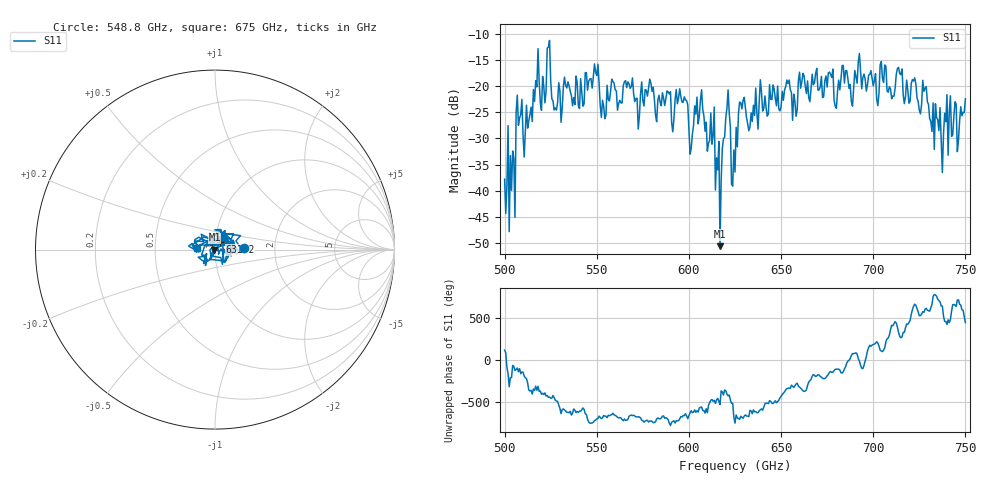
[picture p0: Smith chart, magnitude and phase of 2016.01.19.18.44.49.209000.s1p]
!Created with skrf (http://scikit-rf.org).
# GHz S RI R 50.0
!freq ReS11 ImS11
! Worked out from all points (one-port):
!   401 points, 500 GHz to 750 GHz, reference 50 ohm
!   lowest |S11| = -50.6 dB at 616.9 GHz (marker M1), VSWR 1.01, Z = 49.7 - j0.066 ohm
!   |S11| at or under -10 dB: start of sweep to end of sweep
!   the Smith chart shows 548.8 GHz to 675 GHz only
!   S11 on the Smith chart (normalised r, x): 548.8 GHz: 1.39, +0.02; 631.2 GHz: 1.05, +0.09; 675 GHz: 0.82, +0.02
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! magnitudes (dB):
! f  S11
! 500 GHz  -37.8
! 504.4 GHz  -32.4
! 507.5 GHz  -27.5
! 511.2 GHz  -28.5
! 523.8 GHz  -12.6
! 526.9 GHz  -24.6
! 531.2 GHz  -24.2
! 548.8 GHz  -15.7
! 553.8 GHz  -23.8
! 558.8 GHz  -19.1
! 562.5 GHz  -22.7
! 593.8 GHz  -23.4
! 601.2 GHz  -31.9
! 606.9 GHz  -20.7
! 616.9 GHz  -50.6
! 621.2 GHz  -20.7
! 623.8 GHz  -39.1
! 625 GHz  -36.4
! 628.1 GHz  -23.2
! 631.2 GHz  -26.0
! 656.2 GHz  -26.6
! 675 GHz  -20.2
! 687.5 GHz  -19.7
! 714.4 GHz  -17.6
! 718.8 GHz  -20.8
! 728.1 GHz  -20.4
! 736.9 GHz  -30.3
! 750 GHz  -22.4
